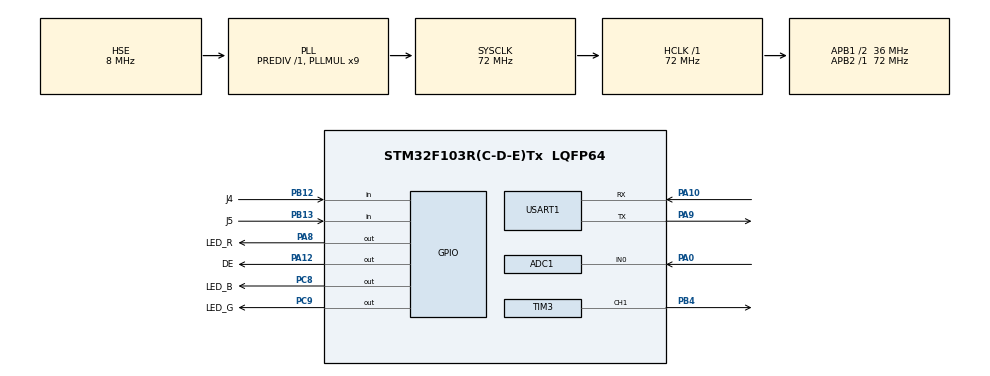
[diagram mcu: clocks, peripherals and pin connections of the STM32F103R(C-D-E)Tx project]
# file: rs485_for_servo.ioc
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ADC1.Channel-6\#ChannelRegularConversion=ADC_CHANNEL_0
ADC1.Channel-7\#ChannelRegularConversion=ADC_CHANNEL_VREFINT
ADC1.Channel-8\#ChannelRegularConversion=ADC_CHANNEL_TEMPSENSOR
ADC1.ContinuousConvMode=ENABLE
ADC1.EnableInjectedConversion=DISABLE
ADC1.EnableRegularConversion=ENABLE
ADC1.InjNumberOfConversion=3
ADC1.NbrOfConversion=3
ADC1.NbrOfConversionFlag=1
ADC1.Rank-6\#ChannelRegularConversion=1
ADC1.Rank-7\#ChannelRegularConversion=2
ADC1.Rank-8\#ChannelRegularConversion=3
ADC1.SamplingTime-6\#ChannelRegularConversion=ADC_SAMPLETIME_71CYCLES_5
ADC1.SamplingTime-7\#ChannelRegularConversion=ADC_SAMPLETIME_239CYCLES_5
ADC1.SamplingTime-8\#ChannelRegularConversion=ADC_SAMPLETIME_239CYCLES_5
ADC1.master=1
Dma.ADC1.0.Direction=DMA_PERIPH_TO_MEMORY
Dma.ADC1.0.Instance=DMA1_Channel1
Dma.ADC1.0.MemDataAlignment=DMA_MDATAALIGN_HALFWORD
Dma.ADC1.0.MemInc=DMA_MINC_ENABLE
Dma.ADC1.0.Mode=DMA_CIRCULAR
Dma.ADC1.0.PeriphDataAlignment=DMA_PDATAALIGN_HALFWORD
Dma.ADC1.0.PeriphInc=DMA_PINC_DISABLE
Dma.ADC1.0.Priority=DMA_PRIORITY_LOW
Dma.Request0=ADC1
FREERTOS.Tasks01=mainTask,0,2048,StartMainTask,Default,NULL,Dynamic,NULL,NULL;modBus,0,256,ModBus_RTU,Default,NULL,Dynamic,NULL,NULL
FREERTOS.Timers01=ServoTimer,ServoSet,osTimerPeriodic,Default,NULL,Dynamic,NULL
FREERTOS.configTIMER_TASK_PRIORITY=4
FREERTOS.configTOTAL_HEAP_SIZE=20480
FREERTOS.configUSE_TIMERS=1
Mcu.Family=STM32F1
Mcu.Name=STM32F103R(C-D-E)Tx
Mcu.Package=LQFP64
NVIC.DMA1_Channel1_IRQn=true\:5\:0\:false\:false\:true\:true\:false\:true
NVIC.PriorityGroup=NVIC_PRIORITYGROUP_4
NVIC.TIM5_IRQn=true\:5\:0\:false\:false\:true\:true\:true\:true
NVIC.TIM6_IRQn=true\:5\:0\:false\:false\:true\:true\:true\:true
NVIC.TIM7_IRQn=true\:0\:0\:false\:false\:true\:false\:false\:true
NVIC.TimeBase=TIM7_IRQn
NVIC.TimeBaseIP=TIM7
NVIC.USART1_IRQn=true\:5\:0\:false\:false\:true\:true\:true\:true
PA0-WKUP.Signal=ADCx_IN0
PA10.Mode=Asynchronous
PA10.Signal=USART1_RX
PA12.GPIO_Label=DE
PA12.GPIO_Speed=GPIO_SPEED_FREQ_HIGH
PA12.Signal=GPIO_Output
PA13.Mode=Serial_Wire
PA13.Signal=SYS_JTMS-SWDIO
PA14.Mode=Serial_Wire
PA14.Signal=SYS_JTCK-SWCLK
PA8.GPIO_Label=LED_R
PA8.PinState=GPIO_PIN_SET
PA8.Signal=GPIO_Output
PA9.Mode=Asynchronous
PA9.Signal=USART1_TX
PB12.GPIO_Label=J4
PB12.GPIO_PuPd=GPIO_PULLUP
PB12.Signal=GPIO_Input
PB13.GPIO_Label=J5
PB13.GPIO_PuPd=GPIO_PULLUP
PB13.Signal=GPIO_Input
PB4.GPIO_Speed=GPIO_SPEED_FREQ_HIGH
PB4.Signal=S_TIM3_CH1
PC8.GPIO_Label=LED_B
PC8.PinState=GPIO_PIN_SET
PC8.Signal=GPIO_Output
PC9.GPIO_Label=LED_G
PC9.PinState=GPIO_PIN_SET
PC9.Signal=GPIO_Output
PD0-OSC_IN.Mode=HSE-External-Oscillator
PD0-OSC_IN.Signal=RCC_OSC_IN
PD1-OSC_OUT.Mode=HSE-External-Oscillator
PD1-OSC_OUT.Signal=RCC_OSC_OUT
ProjectManager.HeapSize=0x200
ProjectManager.StackSize=0x400
ProjectManager.TargetToolchain=MDK-ARM V5
RCC.ADCPresc=RCC_ADCPCLK2_DIV6
RCC.AHBFreq_Value=72000000
RCC.APB1CLKDivider=RCC_HCLK_DIV2
RCC.APB1Freq_Value=36000000
RCC.APB1TimFreq_Value=72000000
RCC.APB2Freq_Value=72000000
RCC.APB2TimFreq_Value=72000000
RCC.EnbaleCSS=true
RCC.HCLKFreq_Value=72000000
RCC.PLLMUL=RCC_PLL_MUL9
RCC.PLLSourceVirtual=RCC_PLLSOURCE_HSE
RCC.SYSCLKFreq_VALUE=72000000
RCC.SYSCLKSource=RCC_SYSCLKSOURCE_PLLCLK
RCC.USBFreq_Value=72000000
SH.ADCx_IN0.0=ADC1_IN0,IN0
SH.S_TIM3_CH1.0=TIM3_CH1,PWM Generation1 CH1
TIM3.AutoReloadPreload=TIM_AUTORELOAD_PRELOAD_ENABLE
TIM3.Channel-PWM\ Generation1\ CH1=TIM_CHANNEL_1
TIM3.Period=9999
TIM3.Prescaler=143
TIM5.Period=999
TIM5.Prescaler=71
TIM6.AutoReloadPreload=TIM_AUTORELOAD_PRELOAD_ENABLE
TIM6.Period=35
TIM6.Prescaler=99
USART1.VirtualMode=VM_ASYNC
VP_ADC1_TempSens_Input.Mode=IN-TempSens
VP_ADC1_Vref_Input.Mode=IN-Vrefint
VP_FREERTOS_VS_CMSIS_V1.Mode=CMSIS_V1
VP_SYS_VS_tim7.Mode=TIM7
VP_TIM5_VS_ClockSourceINT.Mode=Internal
VP_TIM6_VS_ClockSourceINT.Mode=Enable_Timer
board=custom

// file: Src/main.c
/* USER CODE BEGIN Header */
/**
  ******************************************************************************
  * @file           : main.c
  * @brief          : Main program body
  ******************************************************************************
  * @attention
  *
  * <h2><center>&copy; Copyright (c) 2019 STMicroelectronics.
  * All rights reserved.</center></h2>
  *
  * This software component is licensed by ST under Ultimate Liberty license
  * SLA0044, the "License"; You may not use this file except in compliance with
  * the License. You may obtain a copy of the License at:
  *                             www.st.com/SLA0044
  *
  ******************************************************************************
  */
/* USER CODE END Header */

#include "main.h"
#include "cmsis_os.h"
#include "adc.h"
#include "dma.h"
#include "tim.h"
#include "usart.h"
#include "gpio.h"

/* USER CODE BEGIN PV */
//uint32_t size = 0;
/* USER CODE END PV */

void SystemClock_Config(void);
void MX_FREERTOS_Init(void);

int main(void)
{

  /* MCU Configuration--------------------------------------------------------*/

  /* Reset of all peripherals, Initializes the Flash interface and the Systick. */
  HAL_Init();

  /* Configure the system clock */
  SystemClock_Config();

  /* Initialize all configured peripherals */
  MX_GPIO_Init();
  MX_DMA_Init();
  MX_TIM3_Init();
  MX_USART1_UART_Init();
  MX_TIM6_Init();
  MX_ADC1_Init();
  MX_TIM5_Init();
  /* USER CODE BEGIN 2 */
  HAL_ADCEx_Calibration_Start(&hadc1);
  VDD = 0;

  HAL_TIM_PWM_Start(&htim3, TIM_CHANNEL_1);

  HAL_GPIO_WritePin(LED_G_GPIO_Port, LED_G_Pin, GPIO_PIN_RESET);

  /* USER CODE END 2 */

  /* Call init function for freertos objects (in freertos.c) */
  MX_FREERTOS_Init();
  /* Start scheduler */
  osKernelStart();

  /* We should never get here as control is now taken by the scheduler */
  /* Infinite loop */
  while (1)
  {

  }
}

void SystemClock_Config(void)
{
  RCC_OscInitTypeDef RCC_OscInitStruct = {0};
  RCC_ClkInitTypeDef RCC_ClkInitStruct = {0};
  RCC_PeriphCLKInitTypeDef PeriphClkInit = {0};

  /** Initializes the CPU, AHB and APB busses clocks
  */
  RCC_OscInitStruct.OscillatorType = RCC_OSCILLATORTYPE_HSE;
  RCC_OscInitStruct.HSEState = RCC_HSE_ON;
  RCC_OscInitStruct.HSEPredivValue = RCC_HSE_PREDIV_DIV1;
  RCC_OscInitStruct.HSIState = RCC_HSI_ON;
  RCC_OscInitStruct.PLL.PLLState = RCC_PLL_ON;
  RCC_OscInitStruct.PLL.PLLSource = RCC_PLLSOURCE_HSE;
  RCC_OscInitStruct.PLL.PLLMUL = RCC_PLL_MUL9;
  if (HAL_RCC_OscConfig(&RCC_OscInitStruct) != HAL_OK)
  {
    Error_Handler();
  }
  /** Initializes the CPU, AHB and APB busses clocks
  */
  RCC_ClkInitStruct.ClockType = RCC_CLOCKTYPE_HCLK|RCC_CLOCKTYPE_SYSCLK
                              |RCC_CLOCKTYPE_PCLK1|RCC_CLOCKTYPE_PCLK2;
  RCC_ClkInitStruct.SYSCLKSource = RCC_SYSCLKSOURCE_PLLCLK;
  RCC_ClkInitStruct.AHBCLKDivider = RCC_SYSCLK_DIV1;
  RCC_ClkInitStruct.APB1CLKDivider = RCC_HCLK_DIV2;
  RCC_ClkInitStruct.APB2CLKDivider = RCC_HCLK_DIV1;

  if (HAL_RCC_ClockConfig(&RCC_ClkInitStruct, FLASH_LATENCY_2) != HAL_OK)
  {
    Error_Handler();
  }
  PeriphClkInit.PeriphClockSelection = RCC_PERIPHCLK_ADC;
  PeriphClkInit.AdcClockSelection = RCC_ADCPCLK2_DIV6;
  if (HAL_RCCEx_PeriphCLKConfig(&PeriphClkInit) != HAL_OK)
  {
    Error_Handler();
  }
  /** Enables the Clock Security System
  */
  HAL_RCC_EnableCSS();
}

/* USER CODE BEGIN 4 */
uint8_t flash_ready(void) {
	return !(FLASH->SR & FLASH_SR_BSY);
}

//void flash_erase_all_pages(void) {
//    FLASH->CR |= FLASH_CR_MER;
//    FLASH->CR |= FLASH_CR_STRT;
//    while(!flash_ready())
//    	;
//    FLASH->CR &= FLASH_CR_MER;
//}

void flash_erase_page(uint32_t address) {
    FLASH->CR|= FLASH_CR_PER;
    FLASH->AR = address;
    FLASH->CR|= FLASH_CR_STRT;
    while(!flash_ready())
    	;
    FLASH->CR&= ~FLASH_CR_PER;
}

void flash_unlock(void) {
	  FLASH->KEYR = FLASH_KEY1;
	  FLASH->KEYR = FLASH_KEY2;
}

void flash_lock(void) {
	FLASH->CR |= FLASH_CR_LOCK;
}

void flash_write(uint32_t address,uint32_t data) {

	FLASH->CR |= FLASH_CR_PG;
	while(!flash_ready())
		;
    *(__IO uint16_t*)address = (uint16_t)data;
	while(!flash_ready())
		;
	address+=2;
	data>>=16;
    *(__IO uint16_t*)address = (uint16_t)data;
	while(!flash_ready())
		;
    FLASH->CR &= ~(FLASH_CR_PG);

}

void flash_write_d(uint32_t address, double *data) {

  uint16_t *data_16 = (uint16_t*)data;
	FLASH->CR |= FLASH_CR_PG;
	while(!flash_ready())
		;
    *(__IO uint16_t*)address = *data_16;
	while(!flash_ready())
		;
	address+=2;
  ++data_16;
    *(__IO uint16_t*)address = *data_16;
	while(!flash_ready())
		;
  	address+=2;
	++data_16;
    *(__IO uint16_t*)address = *data_16;
	while(!flash_ready())
		;
	address+=2;
	++data_16;
    *(__IO uint16_t*)address = *data_16;
	while(!flash_ready())
		;

    FLASH->CR &= ~(FLASH_CR_PG);

}
uint32_t flash_read(uint32_t address) {
	return (*(__IO uint32_t*) address);
}

double flash_read_d(uint32_t address) {
  double outData = 0;
  uint32_t *pOutData = NULL;
  pOutData = (uint32_t*)&outData;
  *pOutData = *(__IO uint32_t*) address;
  address+=4;
  ++pOutData;
  *pOutData = *(__IO uint32_t*) address;
	return outData;
}

/* USER CODE END 4 */

 /**
  * @brief  Period elapsed callback in non blocking mode
  * @note   This function is called  when TIM7 interrupt took place, inside
  * HAL_TIM_IRQHandler(). It makes a direct call to HAL_IncTick() to increment
  * a global variable "uwTick" used as application time base.
  * @param  htim : TIM handle
  * @retval None
  */
void HAL_TIM_PeriodElapsedCallback(TIM_HandleTypeDef *htim)
{
  if (htim->Instance == TIM7) {
    HAL_IncTick();
  }
  /* USER CODE BEGIN Callback 1 */
//  if (htim->Instance == TIM5) {
//    HAL_ADC_Start_IT(&hadc1);
//  }

  /* USER CODE END Callback 1 */
}

void Error_Handler(void)
{
}

/************************ (C) COPYRIGHT STMicroelectronics *****END OF FILE****/

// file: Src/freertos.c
/* USER CODE BEGIN Header */
/**
  ******************************************************************************
  * File Name          : freertos.c
  * Description        : Code for freertos applications
  ******************************************************************************
  * @attention
  *
  * <h2><center>&copy; Copyright (c) 2019 STMicroelectronics.
  * All rights reserved.</center></h2>
  *
  * This software component is licensed by ST under Ultimate Liberty license
  * SLA0044, the "License"; You may not use this file except in compliance with
  * the License. You may obtain a copy of the License at:
  *                             www.st.com/SLA0044
  *
  ******************************************************************************
  */
/* USER CODE END Header */

#include "FreeRTOS.h"
#include "task.h"
#include "main.h"
#include "cmsis_os.h"

/* USER CODE BEGIN Includes */
#include "mb.h"
#include "mbport.h"

#include "math.h"
/* USER CODE END Includes */

/* USER CODE BEGIN PTD */
extern ADC_HandleTypeDef hadc1;
extern TIM_HandleTypeDef htim5;

void saveFlash(void);
void readFlash(void);
bool calibration(uint32_t *start, uint32_t *finish);

/* USER CODE END PTD */

/* USER CODE BEGIN PD */
// настройки адресов modbus
#define RECEIV_INPUT_START 0x0401
#define RECEIV_INPUT_NREGS 8
#define REG_HOLDING_START 0x0000
#define REG_HOLDING_NREGS 16
//настройки адресов регистров управления
#define SLAVE_ADDRES_A 0
#define BOADRATE_A SLAVE_ADDRES_A + 1
#define COEFFICIENT_A BOADRATE_A + 1
#define POINTS_A COEFFICIENT_A + 1
#define STARTANGDLE_A POINTS_A + 1
#define FINASHANGLE_A STARTANGDLE_A + 1
#define CALCULATE_A FINASHANGLE_A + 1
#define POSITION_A CALCULATE_A + 1
#define SAVESETTINGS_A POSITION_A + 1
#define READSETTINGS_A SAVESETTINGS_A + 1
#define SETDEFOLT_A READSETTINGS_A + 1
#define CALIBRATION_A SETDEFOLT_A + 1

/* USER CODE END PD */

/* USER CODE BEGIN Variables */
static USHORT ReceivInputStart = RECEIV_INPUT_START;
static GPIO_PinState ReceivInputBuf[RECEIV_INPUT_NREGS];

//static USHORT usRegHoldingStart = REG_HOLDING_START;
//static USHORT usRegHoldingBuf[REG_HOLDING_NREGS] = {0};

uint16_t angle[512] = {0};
uint16_t ADC_Result[128] = {0};
uint8_t update = 1, tstart = 0, pos = 0, startCal = 0, setDef = 0, saveSettings = 0, readSettings = 0, stopCalibration = 0;
uint16_t halfPoints;
double totalAngle;
uint8_t convertFin = 0;

double K = 0.0391;                            // коэфицен, наулон кривой
uint32_t pointsROtate = 300;                  //количество точек для расчета кривой
uint32_t startAngle = 350, finishAngle = 650; // стартовый угол(L) в отсчетах ШпМ и финишный угол(R) в ШпМ
uint32_t startAngle_Cal = 0, finishAngle_Cal = 0; // стартовый угол(L) в отсчетах ШпМ и финишный угол(R) в ШпМ калибровочные данные
double min_U = 0.0807;                 // напряжение положения вала
double max_U = 1.595;                  // напряжение положения вала
uint32_t min_PosPWM = 0x00fa;          // ШпМ положения вала
uint32_t max_PosPWM = 0x04e2;          // ШпМ положения вала
double pos_U = 0;                      // текущее положение вала в вольтах
uint16_t posPWM = 0;                   // текущее положение вала в ШпМ
uint32_t boarate = 115200;
uint32_t slaveAdr = 1;

/* USER CODE END Variables */
osThreadId mainTaskHandle;
osThreadId modBusHandle;
osTimerId ServoTimerHandle;

/* USER CODE BEGIN FunctionPrototypes */
double map(double x, double in_min, double in_max, double out_min, double out_max);

/* USER CODE END FunctionPrototypes */

void StartMainTask(void const * argument);
void ModBus_RTU(void const * argument);
void ServoSet(void const * argument);

void MX_FREERTOS_Init(void); /* (MISRA C 2004 rule 8.1) */

/* GetIdleTaskMemory prototype (linked to static allocation support) */
void vApplicationGetIdleTaskMemory( StaticTask_t **ppxIdleTaskTCBBuffer, StackType_t **ppxIdleTaskStackBuffer, uint32_t *pulIdleTaskStackSize );

/* GetTimerTaskMemory prototype (linked to static allocation support) */
void vApplicationGetTimerTaskMemory( StaticTask_t **ppxTimerTaskTCBBuffer, StackType_t **ppxTimerTaskStackBuffer, uint32_t *pulTimerTaskStackSize );

/* USER CODE BEGIN GET_IDLE_TASK_MEMORY */
static StaticTask_t xIdleTaskTCBBuffer;
static StackType_t xIdleStack[configMINIMAL_STACK_SIZE];

void vApplicationGetIdleTaskMemory( StaticTask_t **ppxIdleTaskTCBBuffer, StackType_t **ppxIdleTaskStackBuffer, uint32_t *pulIdleTaskStackSize )
{
  *ppxIdleTaskTCBBuffer = &xIdleTaskTCBBuffer;
  *ppxIdleTaskStackBuffer = &xIdleStack[0];
  *pulIdleTaskStackSize = configMINIMAL_STACK_SIZE;
  /* place for user code */
}
/* USER CODE END GET_IDLE_TASK_MEMORY */

/* USER CODE BEGIN GET_TIMER_TASK_MEMORY */
static StaticTask_t xTimerTaskTCBBuffer;
static StackType_t xTimerStack[configTIMER_TASK_STACK_DEPTH];

void vApplicationGetTimerTaskMemory( StaticTask_t **ppxTimerTaskTCBBuffer, StackType_t **ppxTimerTaskStackBuffer, uint32_t *pulTimerTaskStackSize )
{
  *ppxTimerTaskTCBBuffer = &xTimerTaskTCBBuffer;
  *ppxTimerTaskStackBuffer = &xTimerStack[0];
  *pulTimerTaskStackSize = configTIMER_TASK_STACK_DEPTH;
  /* place for user code */
}
/* USER CODE END GET_TIMER_TASK_MEMORY */

void MX_FREERTOS_Init(void) {
  /* USER CODE BEGIN Init */
    readFlash();

    if (pointsROtate == 0)
    {
      setDef = 0;

      K = 0.0391;
      pointsROtate = 300;
      startAngle = 350;
      finishAngle = 650;
      min_U = 0.0807;
      max_U = 1.595;
      boarate = 115200;
      slaveAdr = 1;
      min_PosPWM = 0x00fa;
      max_PosPWM = 0x04e2;
      startAngle_Cal = 0;
      finishAngle_Cal = 0;

      saveFlash();

    }
  /* USER CODE END Init */

  /* Create the timer(s) */
  /* definition and creation of ServoTimer */
  osTimerDef(ServoTimer, ServoSet);
  ServoTimerHandle = osTimerCreate(osTimer(ServoTimer), osTimerPeriodic, NULL);

  /* Create the thread(s) */
  /* definition and creation of mainTask */
  osThreadDef(mainTask, StartMainTask, osPriorityNormal, 0, 2048);
  mainTaskHandle = osThreadCreate(osThread(mainTask), NULL);

  /* definition and creation of modBus */
  osThreadDef(modBus, ModBus_RTU, osPriorityNormal, 0, 256);
  modBusHandle = osThreadCreate(osThread(modBus), NULL);

}

void StartMainTask(void const * argument)
{
  /* USER CODE BEGIN StartMainTask */
  //HAL_ADC_Start(&hadc1);
  //HAL_TIM_Base_Start_IT(&htim5);
  HAL_ADC_Start_DMA(&hadc1, (uint32_t*)ADC_Result, 3);
//  saveFlash();

  /* Infinite loop */
  for(;;)
  {
    // обновить расчет кривой разгона торможения
    if (update) {
      update = 0;
      //проверка параметров
      if ((finishAngle_Cal != 0 & finishAngle_Cal!= 0xffffffff) && (startAngle_Cal != 0 & startAngle_Cal!= 0xffffffff) &&
        (pointsROtate != 0 & pointsROtate!= 0xffffffff) )
      {
        halfPoints = pointsROtate /2; // половина диапазона нужно для смещения
        totalAngle = (finishAngle_Cal - startAngle_Cal)/10; // максимальное значение

        for(int i = 0;i < pointsROtate+1;i++)
        {
          angle[i] = (uint16_t)((totalAngle/(1+exp(-K*((halfPoints * -1)+i))))*10)+startAngle_Cal; // расчет точки
        }
      }
    }

    // изменить позицию
    if (tstart)
    {
      osTimerStart(ServoTimerHandle,5);
      tstart = 0;
    }

    // если ацп завершил измерение то проведем расчеты
    if (convertFin == 1)
    {
      convertFin = 0;
      pos_U = ((double)ADC_Result[0] * VDD)/4095;
      posPWM = (uint16_t)map(pos_U, min_U, max_U, max_PosPWM, min_PosPWM);
    }

    // отколибровать положение вала по упорам
    if (startCal)
    {
      startCal = 0;
      calibration(&startAngle_Cal, &finishAngle_Cal);

			//проводим перерасчет	и сохраняем настройки
			//проверка параметров
      if ((finishAngle_Cal != 0 & finishAngle_Cal!= 0xffffffff) && (startAngle_Cal != 0 & startAngle_Cal!= 0xffffffff) &&
        (pointsROtate != 0 & pointsROtate!= 0xffffffff) )
      {
        halfPoints = pointsROtate /2; // половина диапазона нужно для смещения
        totalAngle = (finishAngle_Cal - startAngle_Cal)/10; // максимальное значение

        for(int i = 0;i < pointsROtate+1;i++)
        {
          angle[i] = (uint16_t)((totalAngle/(1+exp(-K*((halfPoints * -1)+i))))*10)+startAngle_Cal; // расчет точки
        }

				//Сохранить настройки во флеш
				saveSettings = 0;
				saveFlash();
				NVIC_SystemReset();

      }
			else{
				// Индикация ошибки параметров для расчета кривой
			}
    }

    // установить параметры пр умолчанию
    if (setDef)
    {
      setDef = 0;

      K = 0.0391;
      pointsROtate = 300;
      startAngle = 350;
      finishAngle = 650;
      min_U = 0.0807;
      max_U = 1.595;
      boarate = 115200;
      slaveAdr = 1;
      min_PosPWM = 0x00fa;
      max_PosPWM = 0x04e2;
      startAngle_Cal = 0;
      finishAngle_Cal = 0;

      saveFlash();
    }

    //Сохранить настройки
    if (saveSettings)
    {
      saveSettings = 0;
      saveFlash();
      NVIC_SystemReset();
    }

    //читать настройки
    if (readSettings)
    {
      readSettings = 0;
      readFlash();
    }

//		//функция доводчика
//
//		switch (pos) // в зависимости от позиции выполняем доводку в нужную чторону
//    {
//    	case 0:
//				{
//					if(HAL_GPIO_ReadPin(J4_GPIO_Port, J4_Pin) == GPIO_PIN_RESET)
//					{
//						osTimerStart(ServoTimerHandle,5);
//					}
//					break;
//				}
//    	case 1:
//			{
//				if(HAL_GPIO_ReadPin(J5_GPIO_Port, J5_Pin) == GPIO_PIN_RESET)
//				{
//					osTimerStart(ServoTimerHandle,5);
//				}
//    		break;
//			}
//    	default:
//    		break;
//    }
    osDelay(1);
  }
  /* USER CODE END StartMainTask */
}

void ModBus_RTU(void const * argument)
{
  /* USER CODE BEGIN ModBus_RTU */

  eMBErrorCode eStatus = eMBInit( MB_RTU, slaveAdr, 3, boarate, MB_PAR_NONE );
  eStatus = eMBEnable();

  /* Infinite loop */
  for(;;)
  {
    eMBPoll();
    osDelay(1);
  }
  /* USER CODE END ModBus_RTU */
}

/* ServoSet function */
void ServoSet(void const * argument)
{
  /* USER CODE BEGIN ServoSet */
	//Функция перемешение вала по расчитанной кривой

  static uint32_t i = 0, curentPosPWM, flag_I_comp = 0, flag_array_end = 0;

	curentPosPWM = posPWM;

		// проверить изменилась ли позиция
	do{}while (convertFin != 1);
	convertFin = 0;
	pos_U = ((double)ADC_Result[0] * VDD)/4095;
	posPWM = (uint16_t)map(pos_U, min_U, max_U, max_PosPWM, min_PosPWM);

	// предыдущее положение вала вал, в движении движении
//  switch (pos)
//  {
//    case 0: // проход
//    {
//
//      if ((posPWM < (curentPosPWM - HYSTERESIS)) | (posPWM > (curentPosPWM + HYSTERESIS)) | (HAL_GPIO_ReadPin(J5_GPIO_Port, J5_Pin) == GPIO_PIN_SET)) // при достижении конца массива отключаем шим и остонавливаем таймер
//      {
//				//если не дошли до концевика то доводим
//				if((HAL_GPIO_ReadPin(J5_GPIO_Port, J5_Pin) == GPIO_PIN_RESET) & (Closer_Coun <= STEPS_TO_ERROR))
//				{
//					uint32_t pwmtemp = TIM3->CCR1 - 1;
//					TIM3->CCR1 = pwmtemp; //двигаем по немногу вал
//					Closer_Coun++; // добовляем счетчик
//				}
//				else{
//					if((HAL_GPIO_ReadPin(J5_GPIO_Port, J5_Pin) == GPIO_PIN_RESET) & (Closer_Coun >= STEPS_TO_ERROR)) // если не дошло до концевика и предохранительные шаги закончились то выдаем ошибку
//					{
//						HAL_GPIO_WritePin(LED_G_GPIO_Port, LED_G_Pin, GPIO_PIN_SET); //гасим зеленый
//						HAL_GPIO_WritePin(LED_R_GPIO_Port, LED_R_Pin, GPIO_PIN_RESET); // зажигаем красный
//					}
//					//TIM3->CCR1 = 0;
//					Closer_Coun = 0;
//					osTimerStop(ServoTimerHandle);
//					return;
//				}
//
//      }
//			else
//			{
//				// устанавливаем следующее положение вала
//				TIM3->CCR1 = angle[i];
//				if(i == 0)
//				{
//					Closer_Coun = 0;
//					osTimerStop(ServoTimerHandle);
//				}
//				else{i--;}
//
//			}

//      break;
//    }
//    case 1:
//    {
//
//      if ((posPWM < (curentPosPWM - HYSTERESIS)) | (posPWM > (curentPosPWM + HYSTERESIS)) | (HAL_GPIO_ReadPin(J4_GPIO_Port, J4_Pin) == GPIO_PIN_SET) ) // при достижении конца массива отключаем шим и остонавливаем таймер
//      {
//				//если не дошли до концевика то доводим
//				if((HAL_GPIO_ReadPin(J4_GPIO_Port, J4_Pin) == GPIO_PIN_RESET) & (Closer_Coun <= STEPS_TO_ERROR))
//				{
//					uint32_t pwmtemp = TIM3->CCR1 + 1;
//					TIM3->CCR1 =  //двигаем по немногу вал
//					Closer_Coun++; // добовляем счетчик
//				}
//				else{
//					if((HAL_GPIO_ReadPin(J4_GPIO_Port, J4_Pin) == GPIO_PIN_RESET) & (Closer_Coun >= STEPS_TO_ERROR)) // если не дошло до концевика и предохранительные шаги закончились то выдаем ошибку
//					{
//						HAL_GPIO_WritePin(LED_G_GPIO_Port, LED_G_Pin, GPIO_PIN_SET); //гасим зеленый
//						HAL_GPIO_WritePin(LED_R_GPIO_Port, LED_R_Pin, GPIO_PIN_RESET); // зажигаем красный
//					}
//					//TIM3->CCR1 = 0;
//					Closer_Coun = 0;
//					osTimerStop(ServoTimerHandle);
//					return;
//				}
//      }
//			else{
//				// устанавливаем следующее положение вала
//				TIM3->CCR1 = angle[i];
//				if(i == pointsROtate+1)
//				{
//					Closer_Coun = 0;
//					osTimerStop(ServoTimerHandle);
//				}
//				else{i++;}
//

//			}
//    break;
//    }

//  }
	if(flag_I_comp != 1) // если флаг не установлен, значит вычисляем I
	{
		for(int a=0; a<=pointsROtate; a++)
		{
			if(posPWM <= angle[0])
			{
				flag_I_comp = 1;
				i = 0;
				break;
			}
			if(posPWM >= angle[pointsROtate])
			{
				flag_I_comp = 1;
				i = pointsROtate;
				break;
			}

			if(posPWM >= angle[a])
			{
				flag_I_comp = 1;
				i = a;
				break;
			}
		}
	}

	// проход по массиву
	if (flag_array_end != 1)
	{
		switch (pos)
    {
    	case 0:
    	{
				if ((posPWM < (curentPosPWM - HYSTERESIS)) | (posPWM > (curentPosPWM + HYSTERESIS)) | (HAL_GPIO_ReadPin(J5_GPIO_Port, J5_Pin) == GPIO_PIN_SET)) // завершили движение
				{
					flag_I_comp = 0;
					flag_array_end = 0;
					osTimerStop(ServoTimerHandle);
				}
				else
				{
					// устанавливаем следующее положение вала
					TIM3->CCR1 = angle[i];
					if(i == 0)
					{
						flag_array_end = 1;
						//osTimerStop(ServoTimerHandle);
					}
					else{i--;}

				}
    		break;
    	}
    	case 1:
    	{
				if ((posPWM < (curentPosPWM - HYSTERESIS)) | (posPWM > (curentPosPWM + HYSTERESIS)) | (HAL_GPIO_ReadPin(J4_GPIO_Port, J4_Pin) == GPIO_PIN_SET) ) // завершили движение
				{
					flag_I_comp = 0;
					flag_array_end = 0;
					osTimerStop(ServoTimerHandle);
				}
				else{
					// устанавливаем следующее положение вала
					TIM3->CCR1 = angle[i];
					if(i == pointsROtate+1)
					{
						flag_array_end = 1;
						//osTimerStop(ServoTimerHandle);
						osTimerStop(ServoTimerHandle);
						osTimerStart(ServoTimerHandle,10);
					}
					else{i++;}
				}
    		break;
    	}
    	default:
    	{
    		break;
    	}
    }
	}

	//довод если не на позиции
	if (flag_I_comp == 1 & flag_array_end == 1)
  {
		switch (pos)
    {
    	case 0:
    	{

				if(HAL_GPIO_ReadPin(J5_GPIO_Port, J5_Pin) == GPIO_PIN_SET)
				{
					flag_I_comp = 0;
					flag_array_end = 0;
					osTimerStop(ServoTimerHandle);
					break;
				}
				if((posPWM < (curentPosPWM - HYSTERESIS)) | (posPWM > (curentPosPWM + HYSTERESIS))) // если мы тут значит что то сломалось
				{
					HAL_GPIO_WritePin(LED_G_GPIO_Port, LED_G_Pin, GPIO_PIN_SET); //гасим зеленый
					HAL_GPIO_WritePin(LED_R_GPIO_Port, LED_R_Pin, GPIO_PIN_RESET); // зажигаем красный
					flag_I_comp = 0;
					flag_array_end = 0;
					osTimerStop(ServoTimerHandle);
					break;
				}
				TIM3->CCR1 =  posPWM +5;//двигаем по немногу вал

    		break;
    	}
    	case 1:
    	{

				if(HAL_GPIO_ReadPin(J4_GPIO_Port, J4_Pin) == GPIO_PIN_SET)
				{
					flag_I_comp = 0;
					flag_array_end = 0;
					osTimerStop(ServoTimerHandle);
					break;
				}
				if((posPWM < (curentPosPWM - HYSTERESIS)) | (posPWM > (curentPosPWM + HYSTERESIS))) // если мы тут значит что то сломалось
				{
					HAL_GPIO_WritePin(LED_G_GPIO_Port, LED_G_Pin, GPIO_PIN_SET); //гасим зеленый
					HAL_GPIO_WritePin(LED_R_GPIO_Port, LED_R_Pin, GPIO_PIN_RESET); // зажигаем красный
					flag_I_comp = 0;
					flag_array_end = 0;
					osTimerStop(ServoTimerHandle);
					break;
				}
				TIM3->CCR1 =  posPWM + 5;//двигаем по немногу вал

    		break;
    	}
    	default:
    	{
    		break;
    	}
    }
  }

  /* USER CODE END ServoSet */
}

/* USER CODE BEGIN Application */
/*description https://www.freemodbus.org/api/group__modbus__registers.html*/
//0x04
eMBErrorCode
eMBRegInputCB( UCHAR * pucRegBuffer, USHORT usAddress, USHORT usNRegs )
{
    eMBErrorCode    eStatus = MB_ENOERR;
    int             iRegIndex;

    if( ( usAddress >= RECEIV_INPUT_START ) && ( usAddress + usNRegs <= RECEIV_INPUT_START + RECEIV_INPUT_NREGS ) )
    {
        iRegIndex = ( int )( usAddress - ReceivInputStart );
        while( usNRegs > 0 )
        {
            *pucRegBuffer++ =
                ( unsigned char )( ReceivInputBuf[iRegIndex] >> 8 );
            *pucRegBuffer++ =
                ( unsigned char )( ReceivInputBuf[iRegIndex] & 0xFF );
            iRegIndex++;
            usNRegs--;
        }
	//HAL_GPIO_TogglePin(User_LED_GPIO_Port, User_LED_Pin);
    }
    else
    {
	//HAL_GPIO_TogglePin(User_LED_GPIO_Port, User_LED_Pin);
        eStatus = MB_ENOREG;
    }

    return eStatus;
}
//0x03 0x06 0x10
eMBErrorCode
eMBRegHoldingCB( UCHAR * pucRegBuffer, USHORT usAddress, USHORT usNRegs, eMBRegisterMode eMode )
{
    eMBErrorCode    eStatus = MB_ENOERR;
    //int             iRegIndex;
    if (usAddress > 0)
    {usAddress--;}

    if(( (int)usAddress >= REG_HOLDING_START ) && ( usAddress + usNRegs <= REG_HOLDING_START + REG_HOLDING_NREGS )){
      //iRegIndex = ( int )( usAddress - usRegHoldingStart );

      if (eMode == MB_REG_READ)
      {
        switch (usAddress)
        {
          case SLAVE_ADDRES_A:
          {
            uint16_t tmp = (uint16_t)slaveAdr;
            *pucRegBuffer++ = ( unsigned char )( tmp >> 8 );
            *pucRegBuffer++ = ( unsigned char )( tmp & 0xFF );

            break;
          }
          case BOADRATE_A:
          {
            uint16_t tmp = (uint16_t)(boarate/10);
            *pucRegBuffer++ = ( unsigned char )( tmp >> 8 );
            *pucRegBuffer++ = ( unsigned char )( tmp & 0xFF );

            break;
          }
          case COEFFICIENT_A:
          {
            uint16_t tmp = (uint16_t)(K*10000);
            *pucRegBuffer++ = ( unsigned char )( tmp >> 8 );
            *pucRegBuffer++ = ( unsigned char )( tmp & 0xFF );

            break;
          }
          case POINTS_A:
          {
            uint16_t tmp = (uint16_t)pointsROtate;
            *pucRegBuffer++ = ( unsigned char )( tmp >> 8 );
            *pucRegBuffer++ = ( unsigned char )( tmp & 0xFF );

            break;
          }
          case STARTANGDLE_A:
          {
            uint16_t tmp = (uint16_t)startAngle_Cal;
            *pucRegBuffer++ = ( unsigned char )( tmp >> 8 );
            *pucRegBuffer++ = ( unsigned char )( tmp & 0xFF );
            break;
          }
          case FINASHANGLE_A:
          {
            uint16_t tmp = (uint16_t)finishAngle_Cal;
            *pucRegBuffer++ = ( unsigned char )( tmp >> 8 );
            *pucRegBuffer++ = ( unsigned char )( tmp & 0xFF );
            break;
          }
          case CALCULATE_A:
          {
            eStatus = MB_EINVAL;
            break;
          }
          case POSITION_A:
          {
            uint16_t tmp = (uint16_t)pos;
            *pucRegBuffer++ = ( unsigned char )( tmp >> 8 );
            *pucRegBuffer++ = ( unsigned char )( tmp & 0xFF );
            break;
          }
          case SAVESETTINGS_A:
          {
            eStatus = MB_EINVAL;
            break;
          }
          case SETDEFOLT_A:
          {
            eStatus = MB_EINVAL;
            break;
          }
          case CALIBRATION_A:
          {
            eStatus = MB_EINVAL;
            break;
          }
          default:
          {
            eStatus = MB_ENOREG;
            break;
          }
        }

      }
      else if(eMode == MB_REG_WRITE)
      {
        switch (usAddress)
        {
          case SLAVE_ADDRES_A:
          {
            slaveAdr  = *pucRegBuffer++ << 8;
            slaveAdr |= (unsigned short)(*pucRegBuffer++);
            break;
          }
          case BOADRATE_A:
          {
            uint16_t temp = 0;
            temp  = *pucRegBuffer++ << 8;
            temp |= (unsigned short)(*pucRegBuffer++);
            boarate = temp*10;
            break;
          }
          case COEFFICIENT_A:
          {	uint16_t temp = 0;
            temp  = *pucRegBuffer++ << 8;
            temp |= (unsigned short)(*pucRegBuffer++);
            K = (double)(temp/10000.0);
            break;
          }
          case POINTS_A:
          {
            pointsROtate  = *pucRegBuffer++ << 8;
            pointsROtate |= (unsigned short)(*pucRegBuffer++);
            break;
          }
          case STARTANGDLE_A:
          {
            startAngle_Cal  = *pucRegBuffer++ << 8;
            startAngle_Cal |= (unsigned short)(*pucRegBuffer++);
            break;
          }
          case FINASHANGLE_A:
          {
            finishAngle_Cal  = *pucRegBuffer++ << 8;
            finishAngle_Cal |= (unsigned short)(*pucRegBuffer++);
            break;
          }
          case CALCULATE_A:
          {
            update = 1;
            break;
          }
          case POSITION_A:
          {
            if((startAngle_Cal !=0) & (finishAngle_Cal !=0) & (startAngle_Cal !=0xffffffff) & (finishAngle_Cal !=0xffffffff))
            {
              tstart = 1;
							pos = *(pucRegBuffer+1);
            }
            break;
          }
          case SAVESETTINGS_A:
          {
            saveSettings = 1;
            break;
          }
          case READSETTINGS_A:
          {
            readSettings = 1;
            break;
          }
          case SETDEFOLT_A:
          {
            setDef = 1;
            break;
          }
          case CALIBRATION_A:
          {
            uint16_t temp = 2;
            temp  = *pucRegBuffer++ << 8;
            temp |= (unsigned short)(*pucRegBuffer++);
            if (temp == 1)
            {
              startCal = 1;
              stopCalibration = 0;
            }
            else if(temp == 0)
            {
              startCal = 0;
              stopCalibration = 1;
            }
            break;
          }
          default:
          {
            eStatus = MB_ENOREG;
            break;
          }
        }

      }
//      if(eMode == MB_REG_READ){
//        while( usNRegs > 0 )
//        {
//            *pucRegBuffer++ =
//                ( unsigned char )( usRegHoldingBuf[iRegIndex] >> 8 );
//            *pucRegBuffer++ =
//                ( unsigned char )( usRegHoldingBuf[iRegIndex] & 0xFF );
//            iRegIndex++;
//            usNRegs--;
//
//          // (startAngle_Cal !=0) & (finishAngle_Cal !=0) & (startAngle_Cal !=0xffffffff) & (finishAngle_Cal !=0xffffffff)
//        }

//      } else if(eMode == MB_REG_WRITE) {
//        while( usNRegs > 0 )
//        {
//            usRegHoldingBuf[iRegIndex]  = *pucRegBuffer++ << 8;
//            usRegHoldingBuf[iRegIndex] |= (unsigned short)(*pucRegBuffer++);
//            iRegIndex++;
//            usNRegs--;
//        }
//      }
	//HAL_GPIO_TogglePin(User_LED_GPIO_Port, User_LED_Pin);
    }
    else
    {
	//HAL_GPIO_TogglePin(User_LED_GPIO_Port, User_LED_Pin);
        eStatus = MB_ENOREG;
    }

    return eStatus;
}

// 0x01 0x0f 0x05
eMBErrorCode
eMBRegCoilsCB( UCHAR * pucRegBuffer, USHORT usAddress, USHORT usNCoils, eMBRegisterMode eMode )
{
    return MB_ENOREG;
}
//0x02
eMBErrorCode
eMBRegDiscreteCB( UCHAR * pucRegBuffer, USHORT usAddress, USHORT usNDiscrete )
{
    return MB_ENOREG;
}

void HAL_ADC_ConvCpltCallback(ADC_HandleTypeDef *hadc)
{
  convertFin = 1;
  // вычисляем напряжение питания
  if(VDD == 0){
    VDD = (1.214 * 4095.0)/ADC_Result[1];
  }
}

/*calibration*/
bool calibration(uint32_t *start, uint32_t *finish)
{
  uint16_t addPos = STEP, curentPosPWM = posPWM;

  if ((posPWM > (min_PosPWM - HYSTERESIS)) & (posPWM < (min_PosPWM + HYSTERESIS)))
  {
    curentPosPWM = posPWM + 20;
    // включить шим на текушей позиции
    TIM3->CCR1 = curentPosPWM;

  } else if ((posPWM > (max_PosPWM - HYSTERESIS)) & (posPWM < (max_PosPWM + HYSTERESIS)))
  {
    curentPosPWM = posPWM - 20;
    // включить шим на текушей позиции
    TIM3->CCR1 = curentPosPWM;

  } else
  {
    TIM3->CCR1 = posPWM;
  }
  osDelay(PAUSE_CAL);

  // прошупываем в плюс
  while(!(curentPosPWM >= max_PosPWM))
  {
    // сдвинуть на шаг в лево
    curentPosPWM += addPos;
    TIM3->CCR1 = curentPosPWM;

    osDelay(PAUSE_CAL);

    // проверить изменилась ли позиция
    do{}while (convertFin != 1);
		convertFin = 0;
		pos_U = ((double)ADC_Result[0] * VDD)/4095;
		posPWM = (uint16_t)map(pos_U, min_U, max_U, max_PosPWM, min_PosPWM);

    // если posPWM отличается от curentPosPWM не больше чем на 5 то перейти к следуешему шагу иначе сохронить позицию и перейти к следуещей стороне
//    if ((posPWM < (curentPosPWM - HYSTERESIS)) | (posPWM > (curentPosPWM + HYSTERESIS)) | (posPWM >= max_PosPWM) | (stopCalibration))
//    {
//      TIM3->CCR1 = 0;
//      *finish = posPWM;
//      curentPosPWM = posPWM;
//      break;
//    }
			// test limit switch
			if ((HAL_GPIO_ReadPin(J4_GPIO_Port, J4_Pin) == GPIO_PIN_SET ) | (posPWM >= max_PosPWM) | (stopCalibration))
			{
				TIM3->CCR1 = 0;
				*finish = posPWM;
				curentPosPWM = posPWM;
				break;
			}

    osDelay(PAUSE_CAL);
  }

  osDelay(PAUSE_CAL);

  // прошупываем в минус
  while(!(curentPosPWM <= min_PosPWM))
  {
    // сдвинуть на шаг
    curentPosPWM -= addPos;
    TIM3->CCR1 = curentPosPWM;

    osDelay(PAUSE_CAL);

    // проверить изменилась ли позиция
    do{}while (convertFin != 1);
      convertFin = 0;
      pos_U = ((double)ADC_Result[0] * VDD)/4095;
      posPWM = (uint16_t)map(pos_U, min_U, max_U, max_PosPWM, min_PosPWM);

			// если posPWM отличается от curentPosPWM не больше чем на 5 то перейти к следуешему шагу иначе сохронить позицию и перейти к следуещей стороне
//    if ((posPWM < (curentPosPWM - HYSTERESIS)) | (posPWM > (curentPosPWM + HYSTERESIS)) | (posPWM <= min_PosPWM) | (stopCalibration))
//    {
//      stopCalibration = 0;
//      TIM3->CCR1 = 0;
//      *start = posPWM;
//      curentPosPWM = posPWM;
//      break;
//    }
			// test limit switch
			if ((HAL_GPIO_ReadPin(J5_GPIO_Port, J5_Pin) == GPIO_PIN_SET ) | (posPWM <= min_PosPWM) | (stopCalibration))
			{
				TIM3->CCR1 = 0;
				*start = posPWM;
				curentPosPWM = posPWM;
				break;
			}
    osDelay(PAUSE_CAL);
}

  return true;
}

double map(double x, double in_min, double in_max, double out_min, double out_max)
{
  return (x - in_min) * (out_max - out_min) / (in_max - in_min) + out_min;
}

void saveFlash(void)
{
  flash_unlock();
  flash_erase_page(K_Addres);

  flash_write_d(K_Addres, &K);
  flash_write(pointsROtate_Addres, pointsROtate);
  flash_write(startAngle_Addres, startAngle);
  flash_write(finishAngle_Addres, finishAngle);
  flash_write_d(min_U_Addres, &min_U);
  flash_write_d(max_U_Addres, &max_U);
  flash_write(boarate_Addres, boarate);
  flash_write(slaveAdr_Addres, slaveAdr);
  flash_write(min_PosPWM_Addres, min_PosPWM);
  flash_write(max_PosPWM_Addres, max_PosPWM);
  flash_write(startAngle_Cal_Addres, startAngle_Cal);
  flash_write(finishAngle_Cal_Addres, finishAngle_Cal);

  flash_lock();
}
void readFlash(void)
{
  flash_unlock();

  K = flash_read_d(K_Addres);
  pointsROtate = flash_read(pointsROtate_Addres);
  startAngle = flash_read(startAngle_Addres);
  finishAngle = flash_read(finishAngle_Addres);
  min_U = flash_read_d(min_U_Addres);
  max_U = flash_read_d(max_U_Addres);
  boarate = flash_read(boarate_Addres);
  slaveAdr = flash_read(slaveAdr_Addres);
  min_PosPWM = flash_read(min_PosPWM_Addres);
  max_PosPWM = flash_read(max_PosPWM_Addres);
  startAngle_Cal = flash_read(startAngle_Cal_Addres);
  finishAngle_Cal = flash_read(finishAngle_Cal_Addres);

  flash_lock();
}
/* USER CODE END Application */

/************************ (C) COPYRIGHT STMicroelectronics *****END OF FILE****/
